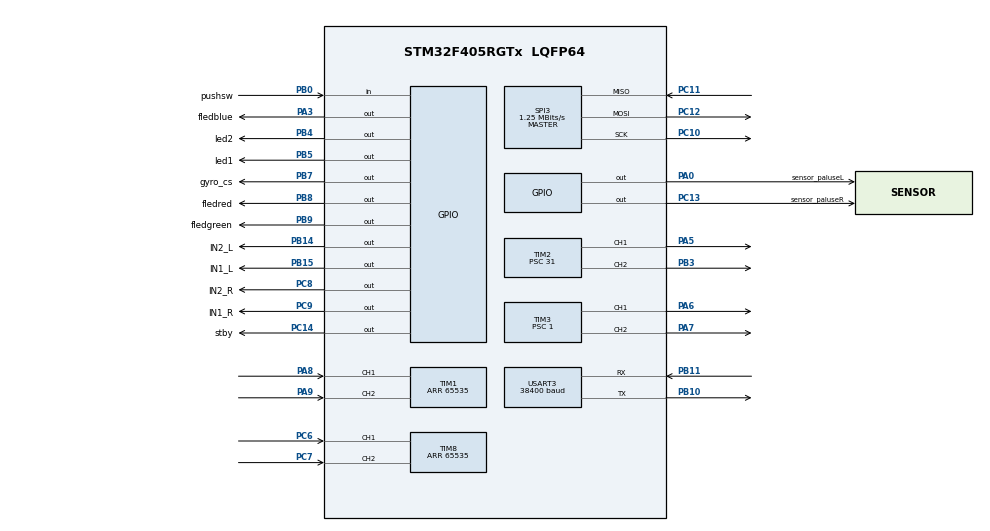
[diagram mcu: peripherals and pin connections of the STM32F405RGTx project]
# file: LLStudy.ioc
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Mcu.Family=STM32F4
Mcu.Name=STM32F405RGTx
Mcu.Package=LQFP64
NVIC.PriorityGroup=NVIC_PRIORITYGROUP_4
PA0-WKUP.GPIO_Label=sensor_paluseL
PA0-WKUP.Signal=GPIO_Output
PA3.GPIO_Label=fledblue
PA3.Signal=GPIO_Output
PA5.Signal=S_TIM2_CH1_ETR
PA6.Signal=S_TIM3_CH1
PA7.Signal=S_TIM3_CH2
PA8.Signal=S_TIM1_CH1
PA9.Signal=S_TIM1_CH2
PB0.GPIO_Label=pushsw
PB0.Signal=GPIO_Input
PB10.Mode=Asynchronous
PB10.Signal=USART3_TX
PB11.Mode=Asynchronous
PB11.Signal=USART3_RX
PB14.GPIO_Label=IN2_L
PB14.Signal=GPIO_Output
PB15.GPIO_Label=IN1_L
PB15.Signal=GPIO_Output
PB3.Signal=S_TIM2_CH2
PB4.GPIO_Label=led2
PB4.Signal=GPIO_Output
PB5.GPIO_Label=led1
PB5.Signal=GPIO_Output
PB7.GPIO_Label=gyro_cs
PB7.Signal=GPIO_Output
PB8.GPIO_Label=fledred
PB8.Signal=GPIO_Output
PB9.GPIO_Label=fledgreen
PB9.Signal=GPIO_Output
PC10.Mode=Full_Duplex_Master
PC10.Signal=SPI3_SCK
PC11.Mode=Full_Duplex_Master
PC11.Signal=SPI3_MISO
PC12.Mode=Full_Duplex_Master
PC12.Signal=SPI3_MOSI
PC13-ANTI_TAMP.GPIO_Label=sensor_paluseR
PC13-ANTI_TAMP.Signal=GPIO_Output
PC14-OSC32_IN.GPIO_Label=stby
PC14-OSC32_IN.Signal=GPIO_Output
PC6.Signal=S_TIM8_CH1
PC7.Signal=S_TIM8_CH2
PC8.GPIO_Label=IN2_R
PC8.Signal=GPIO_Output
PC9.GPIO_Label=IN1_R
PC9.Signal=GPIO_Output
PH0-OSC_IN.Mode=HSE-External-Oscillator
PH0-OSC_IN.Signal=RCC_OSC_IN
PH1-OSC_OUT.Mode=HSE-External-Oscillator
PH1-OSC_OUT.Signal=RCC_OSC_OUT
ProjectManager.HeapSize=0x200
ProjectManager.StackSize=0x400
ProjectManager.TargetToolchain=Makefile
RCC.48MHZClocksFreq_Value=80000000
RCC.AHBFreq_Value=160000000
RCC.APB1CLKDivider=RCC_HCLK_DIV4
RCC.APB1Freq_Value=40000000
RCC.APB1TimFreq_Value=80000000
RCC.APB2CLKDivider=RCC_HCLK_DIV2
RCC.APB2Freq_Value=80000000
RCC.APB2TimFreq_Value=160000000
RCC.CortexFreq_Value=160000000
RCC.HCLKFreq_Value=160000000
RCC.HSE_VALUE=20000000
RCC.HSI_VALUE=16000000
RCC.LSE_VALUE=32768
RCC.PLLM=8
RCC.PLLN=160
RCC.SYSCLKFreq_VALUE=160000000
RCC.SYSCLKSource=RCC_SYSCLKSOURCE_PLLCLK
RCC.VCOOutputFreq_Value=320000000
SH.S_TIM1_CH1.0=TIM1_CH1,Encoder_Interface
SH.S_TIM1_CH2.0=TIM1_CH2,Encoder_Interface
SH.S_TIM2_CH1_ETR.0=TIM2_CH1,PWM Generation1 CH1
SH.S_TIM2_CH2.0=TIM2_CH2,PWM Generation2 CH2
SH.S_TIM3_CH1.0=TIM3_CH1,PWM Generation1 CH1
SH.S_TIM3_CH2.0=TIM3_CH2,PWM Generation2 CH2
SH.S_TIM8_CH1.0=TIM8_CH1,Encoder_Interface
SH.S_TIM8_CH2.0=TIM8_CH2,Encoder_Interface
SPI3.BaudRatePrescaler=SPI_BAUDRATEPRESCALER_32
SPI3.CalculateBaudRate=1.25 MBits/s
SPI3.Direction=SPI_DIRECTION_2LINES
SPI3.Mode=SPI_MODE_MASTER
SPI3.VirtualType=VM_MASTER
TIM1.EncoderMode=TIM_ENCODERMODE_TI12
TIM1.Period=65535
TIM2.Channel-PWM\ Generation1\ CH1=TIM_CHANNEL_1
TIM2.Channel-PWM\ Generation2\ CH2=TIM_CHANNEL_2
TIM2.Period=99
TIM2.Prescaler=31
TIM3.Channel-PWM\ Generation1\ CH1=TIM_CHANNEL_1
TIM3.Channel-PWM\ Generation2\ CH2=TIM_CHANNEL_2
TIM3.Period=399
TIM3.Prescaler=1
TIM8.EncoderMode=TIM_ENCODERMODE_TI12
TIM8.Period=65535
USART3.BaudRate=38400
USART3.VirtualMode=VM_ASYNC
board=custom

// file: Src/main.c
/* USER CODE BEGIN Header */
/**
  ******************************************************************************
  * @file           : main.c
  * @brief          : Main program body
  ******************************************************************************
  * @attention
  *
  * <h2><center>&copy; Copyright (c) 2019 STMicroelectronics.
  * All rights reserved.</center></h2>
  *
  * This software component is licensed by ST under BSD 3-Clause license,
  * the "License"; You may not use this file except in compliance with the
  * License. You may obtain a copy of the License at:
  *                        opensource.org/licenses/BSD-3-Clause
  *
  ******************************************************************************
  */
/* USER CODE END Header */

#include "main.h"
#include "spi.h"
#include "tim.h"
#include "usart.h"
#include "gpio.h"

/* USER CODE BEGIN Includes */
#include <stdio.h>
#include <stdint.h>

#ifdef __GNUC__
#define PUTCHAR_PROTOTYPE int __io_putchar(int ch)
#else
#define PUTCHAR_PROTOTYPE int fputc(int ch, FILE *f)
#endif /* __GNUC__ */
void __io_putchar(uint8_t ch) {
  USART_TransmmitByte(ch);
}

#include "variable.h"

#include "encoder.h"
#include "buzzer.h"
#include "motor.h"

/* USER CODE END Includes */

void SystemClock_Config(void);

int main(void)
{

  /* MCU Configuration--------------------------------------------------------*/

  /* Reset of all peripherals, Initializes the Flash interface and the Systick. */

  LL_APB2_GRP1_EnableClock(LL_APB2_GRP1_PERIPH_SYSCFG);
  LL_APB1_GRP1_EnableClock(LL_APB1_GRP1_PERIPH_PWR);

  NVIC_SetPriorityGrouping(NVIC_PRIORITYGROUP_4);

  /* System interrupt init*/

  /* Configure the system clock */
  SystemClock_Config();

  /* Initialize all configured peripherals */
  MX_GPIO_Init();
  MX_USART3_UART_Init();
  MX_TIM1_Init();
  MX_TIM8_Init();
  MX_TIM3_Init();
  MX_TIM2_Init();
  MX_SPI3_Init();
  /* USER CODE BEGIN 2 */
  /* my initialize */
  setbuf(stdout, NULL);
  LL_SYSTICK_EnableIT();
  TIM_Encoder_Start();
  TIM_PWM_Start();
  enableMotorICStby();

  // buzzer beep
  setBuzzerMonophonic( NORMAL, 300 );
  LL_mDelay(300);

  /* USER CODE END 2 */

  /* Infinite loop */
  while (1)
  {

    /* USER CODE BEGIN 3 */

    #if 0
    printf("sw = %d\r",getPushSW() );
    LL_mDelay( 300 );
    setUILed( uiled );
    setFullColorLed( fullcolorled );

    uiled++;
    if( uiled > 3 ) uiled = 0;
    fullcolorled++;
    if(fullcolorled > 7 ) fullcolorled = 0;
    #endif

  }
  /* USER CODE END 3 */
}

void SystemClock_Config(void)
{
  LL_FLASH_SetLatency(LL_FLASH_LATENCY_5);

  if(LL_FLASH_GetLatency() != LL_FLASH_LATENCY_5)
  {
  Error_Handler();
  }
  LL_PWR_SetRegulVoltageScaling(LL_PWR_REGU_VOLTAGE_SCALE1);
  LL_RCC_HSI_SetCalibTrimming(16);
  LL_RCC_HSI_Enable();

   /* Wait till HSI is ready */
  while(LL_RCC_HSI_IsReady() != 1)
  {

  }
  LL_RCC_PLL_ConfigDomain_SYS(LL_RCC_PLLSOURCE_HSI, LL_RCC_PLLM_DIV_8, 160, LL_RCC_PLLP_DIV_2);
  LL_RCC_PLL_Enable();

   /* Wait till PLL is ready */
  while(LL_RCC_PLL_IsReady() != 1)
  {

  }
  LL_RCC_SetAHBPrescaler(LL_RCC_SYSCLK_DIV_1);
  LL_RCC_SetAPB1Prescaler(LL_RCC_APB1_DIV_4);
  LL_RCC_SetAPB2Prescaler(LL_RCC_APB2_DIV_2);
  LL_RCC_SetSysClkSource(LL_RCC_SYS_CLKSOURCE_PLL);

   /* Wait till System clock is ready */
  while(LL_RCC_GetSysClkSource() != LL_RCC_SYS_CLKSOURCE_STATUS_PLL)
  {

  }
  LL_Init1msTick(160000000);
  LL_SYSTICK_SetClkSource(LL_SYSTICK_CLKSOURCE_HCLK);
  LL_SetSystemCoreClock(160000000);
}

void Error_Handler(void)
{
}

/************************ (C) COPYRIGHT STMicroelectronics *****END OF FILE****/
